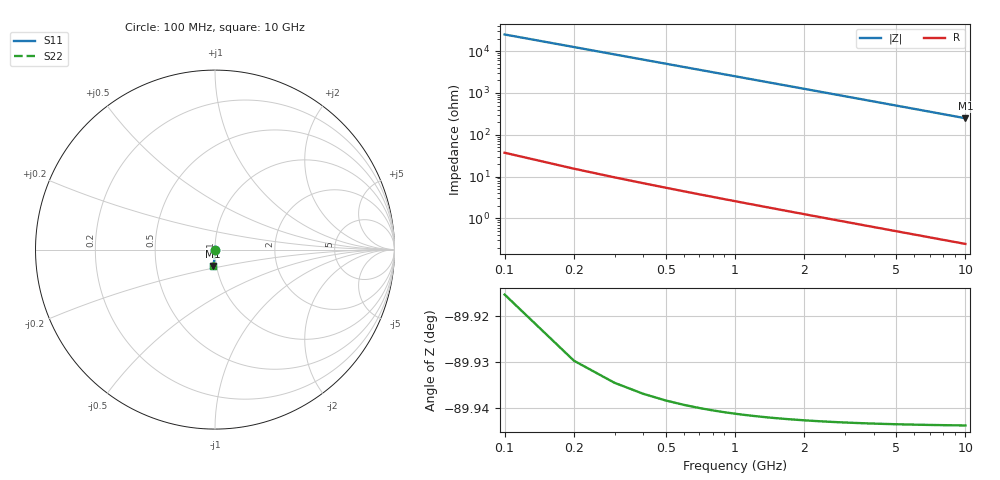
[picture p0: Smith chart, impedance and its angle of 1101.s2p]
# Hz S RI R 50.00
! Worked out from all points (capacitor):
!   100 points, 100 MHz to 10 GHz, reference 50 ohm
!   read as one part in shunt: C = 63.3 fF near 100 MHz
!   lowest |Z| = 249 ohm at 10 GHz (marker M1)
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1e8  2.41e-05 -0.00091  1 -0.00108  1 -0.00108  2.41e-05 -0.00091
2e8  2.04e-05 -0.00182  1 -0.00216  1 -0.00216  2.04e-05 -0.00182
3e8  1.46e-05 -0.00273  1 -0.00324  1 -0.00324  1.46e-05 -0.00273
4e8  6.88e-06 -0.00364  1 -0.00432  1 -0.00432  6.88e-06 -0.00364
5e8  -2.83e-06 -0.00455  0.9999 -0.0054  0.9999 -0.0054  -2.83e-06 -0.00455
6e8  -1.45e-05 -0.00546  0.9999 -0.00648  0.9999 -0.00648  -1.45e-05 -0.00546
7e8  -2.82e-05 -0.00637  0.9999 -0.00756  0.9999 -0.00756  -2.82e-05 -0.00637
8e8  -4.38e-05 -0.00728  0.9999 -0.00864  0.9999 -0.00864  -4.38e-05 -0.00728
9e8  -6.14e-05 -0.00819  0.9999 -0.00972  0.9999 -0.00972  -6.14e-05 -0.00819
1.1e9  -0.000103 -0.01  0.9998 -0.0119  0.9998 -0.0119  -0.000103 -0.01
1.4e9  -0.000179 -0.0127  0.9998 -0.0151  0.9998 -0.0151  -0.000179 -0.0127
1.8e9  -0.000309 -0.0164  0.9996 -0.0194  0.9996 -0.0194  -0.000309 -0.0164
2.1e9  -0.000427 -0.0191  0.9995 -0.0227  0.9995 -0.0227  -0.000427 -0.0191
2.5e9  -0.000612 -0.0228  0.9993 -0.027  0.9993 -0.027  -0.000612 -0.0228
2.9e9  -0.000829 -0.0264  0.9991 -0.0313  0.9991 -0.0313  -0.000829 -0.0264
3.4e9  -0.00114 -0.031  0.9988 -0.0368  0.9988 -0.0368  -0.00114 -0.031
4.2e9  -0.00175 -0.0383  0.9982 -0.0454  0.9982 -0.0454  -0.00175 -0.0383
5.1e9  -0.00259 -0.0465  0.9973 -0.0552  0.9973 -0.0552  -0.00259 -0.0465
5.9e9  -0.00347 -0.0538  0.9964 -0.0638  0.9964 -0.0638  -0.00347 -0.0538
6.7e9  -0.00448 -0.0611  0.9954 -0.0725  0.9954 -0.0725  -0.00448 -0.0611
8.4e9  -0.00706 -0.0765  0.9928 -0.0909  0.9928 -0.0909  -0.00706 -0.0765
1e10  -0.01 -0.091  0.9898 -0.1081  0.9898 -0.1081  -0.01 -0.091
